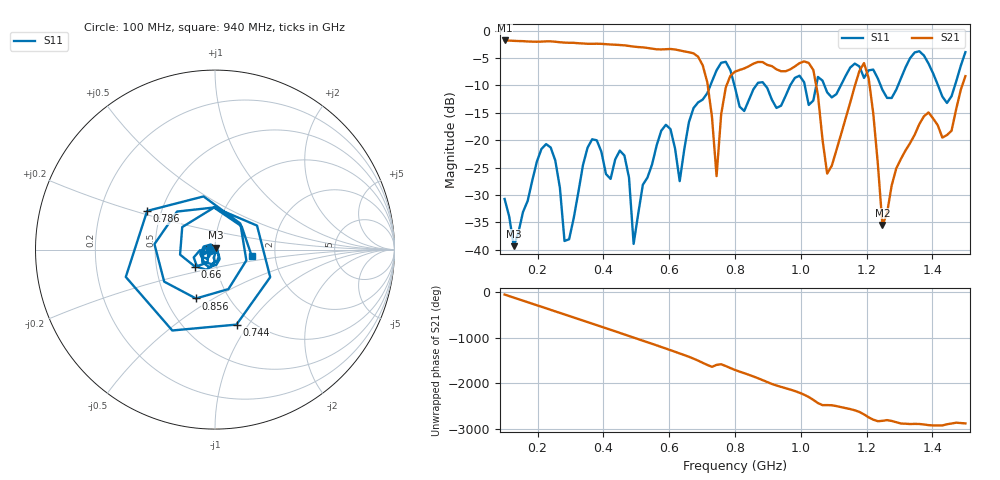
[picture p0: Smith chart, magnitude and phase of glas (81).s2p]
! NanoVNA-App
! Date: 2025-09-26 09:39:28
! Start: 100MHz Stop: 1,5GHz Points: 101
! S-Parameter data: F S11 S21 S12 S22
# Hz S RI R 50
!  Frequency  S11_Real  S11_Imag  S21_Real  S21_Imag  S12_Real  S12_Imag  S22_Real  S22_Imag
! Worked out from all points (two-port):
!   101 points, 100 MHz to 1.5 GHz, reference 50 ohm
!   highest |S21| = -1.79 dB at 100 MHz (marker M1); lowest = -35.5 dB at 1.248 GHz (marker M2)
!   |S21| within 3 dB of the highest: start of sweep to 688.2 MHz
!   lowest |S11| = -39.3 dB at 128 MHz (marker M3), VSWR 1.02, Z = 50.3 + j1.04 ohm
!   |S11| at or under -10 dB: start of sweep to 725.2 MHz; 798.4 MHz to 864.1 MHz (65.77 MHz wide, 7.91 % of centre); 891.9 MHz to 967.6 MHz (75.73 MHz wide, 8.15 % of centre)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
!   S12 and S22 are empty: the file has one direction only
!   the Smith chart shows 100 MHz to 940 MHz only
!   S11 on the Smith chart (normalised r, x): 100 MHz: 0.94, -0.01; 660 MHz: 0.79, -0.15; 744 MHz: 0.85, -0.88; 786 MHz: 0.42, +0.22; 856 MHz: 0.70, -0.42; 940 MHz: 1.51, -0.11
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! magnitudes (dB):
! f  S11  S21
! 100 MHz  -30.7  -1.8
! 128 MHz  -39.3  -1.9
! 212 MHz  -21.6  -2.0
! 282 MHz  -38.4  -2.2
! 338 MHz  -24.6  -2.3
! 464 MHz  -22.8  -2.7
! 492 MHz  -38.9  -2.9
! 576 MHz  -18.3  -3.4
! 632 MHz  -27.5  -3.6
! 660 MHz  -16.7  -3.9
! 716 MHz  -11.4  -9.5
! 744 MHz  -7.2  -26.5
! 786 MHz  -7.2  -8.2
! 800 MHz  -10.4  -7.5
! 856 MHz  -10.7  -6.0
! 940 MHz  -13.7  -7.4
! 1.038 GHz  -12.8  -7.2
! 1.08 GHz  -11.3  -26.1
! 1.192 GHz  -8.6  -5.9
! 1.248 GHz  -10.8  -35.5
! 1.276 GHz  -12.3  -28.3
! 1.5 GHz  -3.9  -8.3
